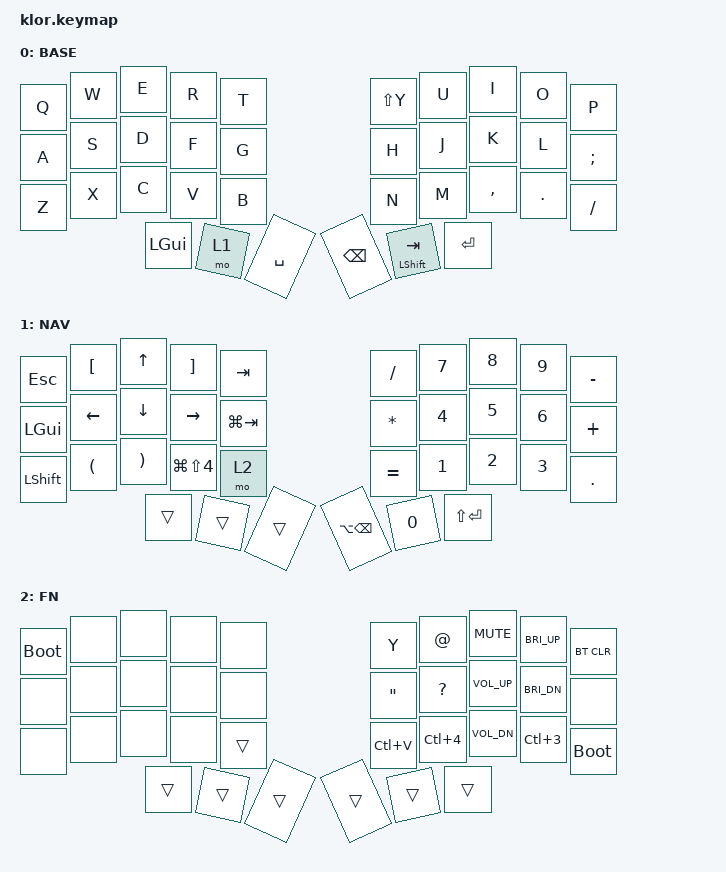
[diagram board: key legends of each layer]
#include <behaviors.dtsi>
#include <dt-bindings/zmk/keys.h>
#include <dt-bindings/zmk/bt.h>

// KLOR Saegewerk, 36 keys: the Corne layout from xkhanhs/zmk-config-corne,
// except the ;/: key on BASE, the two middle thumbs and the right hand of FN.
// This file matches what was saved in ZMK Studio on 2026-11-03.
// Firmware sends QWERTY keycodes; on the host VTX (Colemak mode) remaps them
// to Colemak DH-Viet, so the comments show the character under DH-Viet.
//
// The shield maps only the 36 keys of the build, in the Corne 5-column order:
// three rows of 5 + 5, then left thumbs outer -> inner and right thumbs
// inner -> outer. ZMK Studio is enabled on the left half.
//
// No reset button is fitted: FN + the left top-left key or the right
// bottom-right key reboots that half into the bootloader. FN is NAV held
// with the left index held on B.

#define XXX &none

/ {
	keymap {
		compatible = "zmk,keymap";

		default_layer {
			display-name = "BASE";
			// The ; key of DH-Viet sends Shift so it types ":"; plain ";" is on FN.
			// The right middle thumb is Shift held and Tab tapped, so Cmd+Tab is
			// the left thumb holding GUI and the right thumb tapping, and each
			// further tap moves on through the app switcher. &mt is
			// hold-preferred, so a key pressed while it is down is shifted.
			// It is the only Shift: the left middle thumb only holds NAV.
			// |  q  |  w  |  f  |  g  |  b  |   |  :  |  l  |  u  |  y  |  x  |
			// |  a  |  h  |  s  |  t  |  p  |   |  m  |  n  |  e  |  o  |  i  |
			// |  j  |  v  |  r  |  c  |  z  |   |  k  |  d  |  ,  |  .  |  /  |
			//       | GUI | NAV | SPC |   | BSPC|⇧/TAB| ENT |
			bindings = <
&kp Q &kp W &kp E &kp R &kp T   &kp LS(Y) &kp U &kp I &kp O   &kp P
&kp A &kp S &kp D &kp F &kp G   &kp H &kp J &kp K     &kp L   &kp SEMI
&kp Z &kp X &kp C &kp V &kp B   &kp N &kp M &kp COMMA &kp DOT &kp FSLH
      &kp LGUI &mo 1 &kp SPACE   &kp BSPC &mt LSHFT TAB &kp RET
			>;
		};

		nav_layer {
			display-name = "NAV";
			// Left hand moves, right hand is a numpad. CMDTAB returns to the
			// last app in one press, SHOT4 is Cmd+Shift+4, FN is held on top
			// of NAV. NAV is on only while its thumb is held. DELWD is
			// Option+Backspace, delete word, as on the Corne.
			// | ESC  |  [   |  UP  |  ]   | TAB  |   |  /   |  7   |  8   |  9   |  -   |
			// | GUI  | LEFT | DOWN | RGHT |CMDTAB|   |  *   |  4   |  5   |  6   |  +   |
			// | SHFT |  (   |  )   | SHOT4|  FN  |   |  =   |  1   |  2   |  3   |  .   |
			//               |      | held |      |   | DELWD|  0   | S-ENT|
			bindings = <
&kp ESC   &kp LBKT &kp UP   &kp RBKT       &kp TAB       &kp FSLH  &kp N7 &kp N8 &kp N9 &kp MINUS
&kp LGUI  &kp LEFT &kp DOWN &kp RIGHT      &kp LG(TAB)   &kp STAR  &kp N4 &kp N5 &kp N6 &kp PLUS
&kp LSHFT &kp LPAR &kp RPAR &kp LG(LS(N4)) &mo 2         &kp EQUAL &kp N1 &kp N2 &kp N3 &kp DOT
                   &trans   &trans         &trans        &kp LA(BSPC) &kp N0 &kp LS(RET)
			>;
		};

		fn_layer {
			display-name = "FN";
			// Everything usable is on the right hand: the left index holds FN
			// while the left thumb holds NAV. Empty cells are &none so a stray
			// touch does not type a NAV digit. BTCLR clears the selected
			// Bluetooth profile. C-4 and C-3 pick an input source directly (on
			// the Corne they sit on the outer column, which the KLOR does not
			// have). BOOT reboots that half into the bootloader for flashing.
			// The ; cell sends Y, which is ; on DH-Viet.
			// | BOOT |      |      |      |      |   |  ;   |  @   | MUTE | BRI+ | BTCLR|
			// |      |      |      |      |      |   |  "   |  ?   | VOL+ | BRI- |      |
			// |      |      |      |      | held |   | C-c  | C-4  | VOL- | C-3  | BOOT |
			bindings = <
&bootloader XXX XXX XXX XXX      &kp Y      &kp AT     &kp C_MUTE   &kp C_BRI_UP &bt BT_CLR
XXX         XXX XXX XXX XXX      &kp DQT    &kp QMARK  &kp C_VOL_UP &kp C_BRI_DN XXX
XXX         XXX XXX XXX &trans   &kp LC(V)  &kp LC(N4) &kp C_VOL_DN &kp LC(N3)   &bootloader
            &trans &trans &trans   &trans &trans &trans
			>;
		};
	};
};
